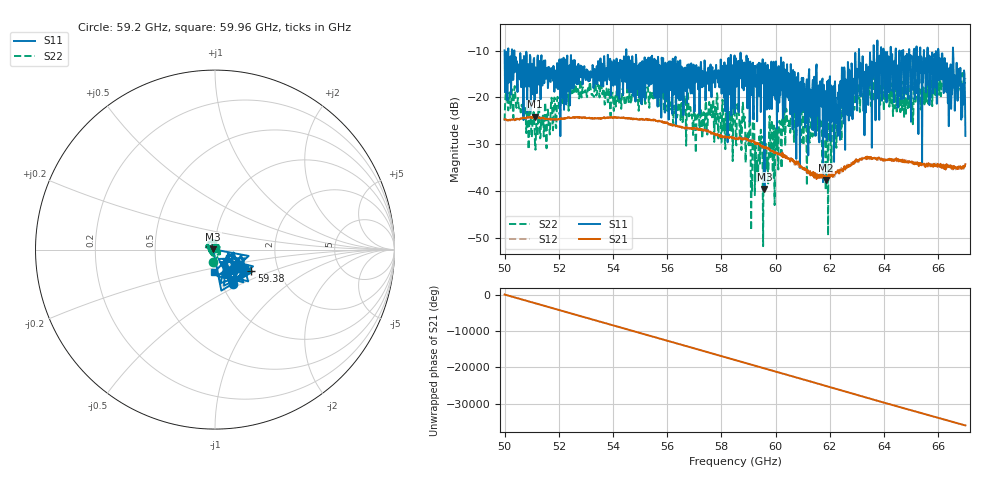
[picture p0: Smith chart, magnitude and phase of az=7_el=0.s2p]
!Created with skrf (http://scikit-rf.org).
# GHz S RI R 50.0
!freq ReS11 ImS11 ReS21 ImS21 ReS12 ImS12 ReS22 ImS22
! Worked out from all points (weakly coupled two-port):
!   1001 points, 50 GHz to 67 GHz, reference 50 ohm
!   highest |S21| = -24.12 dB at 51.12 GHz (marker M1); lowest = -37.7 dB at 61.87 GHz (marker M2)
!   lowest |S11| = -39.6 dB at 59.59 GHz (marker M3), VSWR 1.02, Z = 49 + j0.146 ohm
!   |S11| at or under -10 dB: 50.36 GHz to 54.49 GHz (4.13 GHz wide, 7.88 % of centre); 54.49 GHz to 63.07 GHz (8.583 GHz wide, 14.6 % of centre); 63.08 GHz to 63.61 GHz (538.7 MHz wide, 0.85 % of centre) (the widest 3 of 22)
!   |S22| runs from -51.9 to -13.9 dB; largest |S21 - S12| = 0.002
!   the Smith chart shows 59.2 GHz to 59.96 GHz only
!   S11 on the Smith chart (normalised r, x): 59.2 GHz: 1.13, -0.45; 59.38 GHz: 1.45, -0.37; 59.96 GHz: 0.96, -0.25
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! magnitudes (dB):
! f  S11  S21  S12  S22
! 50 GHz  -9.9  -24.7  -24.7  -25.0
! 50.42 GHz  -13.7  -24.7  -24.8  -22.0
! 51.12 GHz  -16.2  -24.1  -24.2  -30.2
! 52.84 GHz  -14.1  -24.3  -24.4  -20.0
! 55.68 GHz  -13.2  -25.0  -25.1  -22.3
! 56.99 GHz  -14.5  -26.5  -26.6  -22.3
! 57.62 GHz  -15.6  -27.8  -27.5  -21.3
! 58.5 GHz  -23.3  -28.8  -28.7  -25.1
! 59.2 GHz  -13.3  -29.4  -29.6  -23.4
! 59.38 GHz  -12.6  -30.0  -30.1  -29.3
! 59.59 GHz  -39.6  -30.9  -30.5  -30.0
! 59.84 GHz  -12.3  -31.5  -31.3  -25.7
! 59.96 GHz  -18.0  -31.7  -31.8  -43.1
! 60.64 GHz  -14.1  -33.4  -33.3  -22.4
! 61.34 GHz  -26.8  -36.1  -36.5  -25.4
! 61.87 GHz  -18.6  -37.7  -37.2  -26.2
! 62.6 GHz  -19.7  -34.9  -34.8  -19.0
! 64.18 GHz  -18.9  -33.4  -33.2  -18.6
! 66.08 GHz  -15.5  -34.2  -34.6  -15.4
! 66.42 GHz  -15.3  -35.0  -34.8  -16.5
! 66.75 GHz  -17.6  -34.8  -35.2  -18.4
! 67 GHz  -28.3  -34.3  -34.7  -15.9
